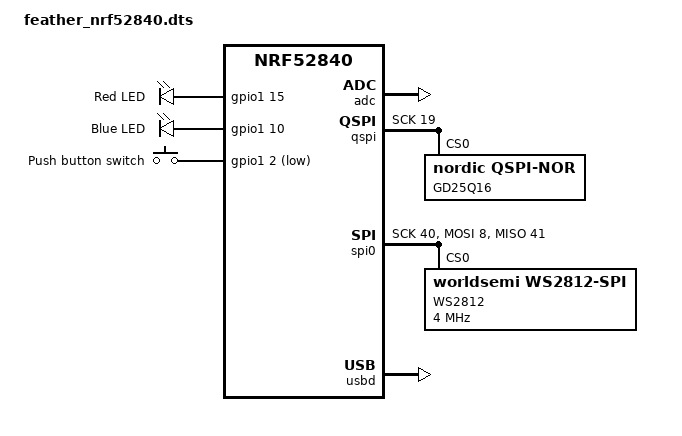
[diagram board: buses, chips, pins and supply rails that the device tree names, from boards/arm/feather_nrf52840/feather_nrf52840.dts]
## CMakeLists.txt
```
set(BOARD feather_nrf52840)
list(APPEND BOARD_ROOT ${CMAKE_CURRENT_SOURCE_DIR})
cmake_minimum_required(VERSION 3.13.1)
find_package(Zephyr)
project(larm)

# Add your source file to the "app" target. This must come after
# find_package(Zephyr) which defines the target.
target_include_directories(app PRIVATE include)
target_sources(app PRIVATE src/main.c src/ble.c)
```

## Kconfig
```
config LARM
    bool
    default y
    select USE_DT_CODE_PARTITION
    select BT
    select BT_SETTINGS
    select BT_PERIPHERAL
    select BT_GATT_CLIENT
    select BT_SMP
    select BT_SMP_SC_PAIRING_ONLY
    select FLASH
    select FLASH_MAP
    select SETTINGS
    select NVS

choice SETTINGS_BACKEND
    default SETTINGS_NVS
endchoice

config RTT_LOG
    bool "Enable RTT logging"
    default n
    select LOG
    select DEBUG
    select CONSOLE
    select USE_SEGGER_RTT
    select RTT_CONSOLE

config NEOPIXEL
    bool "Enable neopixel"
    default y
    select SPI
    select NRFX_SPIM0
    select LED_STRIP
    select WS2812_STRIP

config LARM_LOG_LEVEL
    int "Larm log level"
    default 4

config LARM_LENGTH
    int "Total length in minutes"
    default 60

config LARM_WAKE_TIME
    int "Minutes after which the alarm will set off"
    default 300

config BLE_INIT_PRIORITY
	int "BLE Init Priority"
	default 50

module = LARM
module-str = larm
source "subsys/logging/Kconfig.template.log_config"

rsource "Kconfig.defconfig"
source "Kconfig.zephyr"
```

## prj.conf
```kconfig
CONFIG_RTT_LOG=y
CONFIG_LARM_WAKE_TIME=420
CONFIG_LARM_LENGTH=60
CONFIG_SETTINGS_NVS=y
CONFIG_BT_DEBUG_LOG=y
CONFIG_BT_LOG_LEVEL_DBG=y
CONFIG_LOG_BUFFER_SIZE=20000
CONFIG_SEGGER_RTT_BUFFER_SIZE_UP=20000
CONFIG_BT_RX_STACK_SIZE=8192
CONFIG_BT_HCI_TX_STACK_SIZE_WITH_PROMPT=y
CONFIG_BT_HCI_ECC_STACK_SIZE=8192
CONFIG_BT_HCI_TX_STACK_SIZE=8192
CONFIG_BT_CTLR_RX_PRIO_STACK_SIZE=8192
CONFIG_MPU_STACK_GUARD=y
CONFIG_MAIN_STACK_SIZE=4096
CONFIG_SYSTEM_WORKQUEUE_STACK_SIZE=4096
```

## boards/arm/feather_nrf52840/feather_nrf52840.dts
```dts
/dts-v1/;
#include <nordic/nrf52840_qiaa.dtsi>

#include <dt-bindings/led/led.h>

 / {
	chosen {
		zephyr,bt-mon-uart = &uart0;
		zephyr,bt-c2h-uart = &uart0;
		zephyr,sram = &sram0;
		zephyr,flash = &flash0;
		zephyr,code-partition = &flash_code_raw;
        zephyr,console = &cdc_dev;
	};

	leds {
		compatible = "gpio-leds";
        label = "board_leds";
		led0: led_0 {
			gpios = <&gpio1 15 0>;
			label = "Red LED";
		};
		led1: led_1 {
			gpios = <&gpio1 10 0>;
			label = "Blue LED";
		};
	};

	buttons {
		compatible = "gpio-keys";
		button0: button_0 {
			gpios = <&gpio1 2 (GPIO_PULL_UP | GPIO_ACTIVE_LOW)>;
			label = "Push button switch";
		};
	};

	aliases {
		led0 = &led0;
		led1 = &led1;
		sw0 = &button0;
	};
};

&adc {
	status = "okay";
};

&gpiote {
	status = "okay";
};

&gpio0 {
	status = "okay";
};

&gpio1 {
	status = "okay";
};

&qspi {
	status = "okay";
	sck-pin = <19>;
	io-pins = <17>, <22>, <23>, <21>;
	csn-pins = <20>;
	gd25q16: gd25q16@0 {
		/* NOTE: Quad mode not supported as driver does not handle
		 * QE bit setting in SR2. Ref. GD25Q16C, Rev 3.0, p. 12.
		 */
		compatible = "nordic,qspi-nor";
		reg = <0>;
		writeoc = "pp2o";
		readoc = "read2io";
		sck-frequency = <16000000>;
		label = "GD25Q16";
		jedec-id = [c8 40 15];
		size = <16777216>;
		has-dpd;
		t-enter-dpd = <20000>;
		t-exit-dpd = <20000>;
	};
};

&spi0 {
    compatible = "nordic,nrf-spim";
    status = "okay";
    sck-pin = <40>;
    mosi-pin = <8>;
    miso-pin = <41>;

    neopixel: ws2812@0 {
        compatible = "worldsemi,ws2812-spi";
        label = "WS2812";
        status = "okay";

        /* SPI */
        reg = <0>; /* ignored, but necessary for SPI bindings */
        spi-max-frequency = <4000000>;

        /* WS2812 */
        chain-length = <12>; /* LED strip length */
        spi-one-frame = <0x70>;
        spi-zero-frame = <0x40>;
        color-mapping = <LED_COLOR_ID_GREEN LED_COLOR_ID_RED LED_COLOR_ID_BLUE LED_COLOR_ID_WHITE>;
    };
};

&i2c0 {
    status = "disabled";
};

&spi1 {
    status = "disabled";
};

&led0 {
    status = "okay";
};

&led1 {
    status = "okay";
};

&flash0 {
	/*
	 * For more information, see:
	 * http://docs.zephyrproject.org/latest/devices/dts/flash_partitions.html
	 */
	my-partitions {
		compatible = "fixed-partitions";
		#address-cells = <1>;
		#size-cells = <1>;

		flash_sd: partition_sd@0 {
			label = "softdevice";
			reg = <0x00000000 0x00026000>;
		};
		flash_mbr: partition@0 {
			label = "mbr";
			reg = <0x00000000 0x00001000>;
		};
		flash_code_soft: partition@26000 {
			label = "code_partition_softdevice";
			reg = <0x00026000 0x000c6000>;
		};
		flash_code: partition@1000 {
			label = "code_partition";
			reg = <0x00001000 0x000eb000>;
		};
		flash_code_raw: partition_raw@0 {
			label = "raw_code_partition";
			reg = <0x00000000 0x000ec000>;
		};

		/*
		 * The flash starting at 0x000ec000 and ending at
		 * 0x000f3fff is reserved for use by the application.
		 */

		/*
		 * Storage partition will be used by FCB/LittleFS/NVS
		 * if enabled.
		 */
		flash_storage: partition@ec000 {
			label = "storage";
			reg = <0x000ec000 0x00008000>;
		};

		flash_boot: partition@f4000 {
			label = "adafruit_boot";
			reg = <0x000f4000 0x0000c000>;
		};
	};
};

zephyr_udc0: &usbd {
	compatible = "nordic,nrf-usbd";
	status = "okay";

	cdc_dev: cdc_acm_uart0 {
		compatible = "zephyr,cdc-acm-uart";
		label = "CDC_ACM_0";
	};
};
```

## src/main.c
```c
#include <device.h>
#include <drivers/gpio.h>
#include <drivers/led_strip.h>

#include <logging/log.h>
LOG_MODULE_REGISTER(larm, CONFIG_LARM_LOG_LEVEL);

#define NEOPIXEL_NODE DT_NODELABEL(neopixel)
#define NEOPIXEL_CHAIN_LEN DT_PROP(NEOPIXEL_NODE, chain_length)
#define NEOPIXEL_NUM_COLORS DT_PROP_LEN(NEOPIXEL_NODE, color_mapping)
#define NEOPIXEL_NUM_CHANS (NEOPIXEL_CHAIN_LEN * NEOPIXEL_NUM_COLORS)

static const struct device *neopixel = DEVICE_DT_GET(NEOPIXEL_NODE);

int main() {
    int ret;

    uint8_t chans[NEOPIXEL_NUM_CHANS] = {0};
    for (int i = 0; i < NEOPIXEL_CHAIN_LEN; i ++) {
        for (int j = 0; j < NEOPIXEL_CHAIN_LEN; j ++) {
            chans[j * NEOPIXEL_NUM_COLORS + 1] = i == j;
        }
        if ((ret = led_strip_update_channels(neopixel, chans, NEOPIXEL_NUM_CHANS)) < 0) {
            LOG_ERR("Can't update: %d", ret);
        }
        k_sleep(K_SECONDS(CONFIG_LARM_WAKE_TIME * 60 / NEOPIXEL_CHAIN_LEN));
    }
    for (int i = 0; i < 256; i ++) {
        for (int j = 0; j < NEOPIXEL_CHAIN_LEN; j ++) {
            chans[j * NEOPIXEL_NUM_COLORS + 2] = i;
            chans[j * NEOPIXEL_NUM_COLORS + 3] = i;
        }
        if ((ret = led_strip_update_channels(neopixel, chans, NEOPIXEL_NUM_CHANS)) < 0) {
            LOG_ERR("Can't update: %d", ret);
        }
        k_sleep(K_SECONDS(CONFIG_LARM_LENGTH * 60 / 256));
    }
    return 0;
}
```

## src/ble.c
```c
#include <device.h>
#include <settings/settings.h>
#include <bluetooth/bluetooth.h>
#include <bluetooth/conn.h>
#include <bluetooth/uuid.h>
#include <bluetooth/gatt.h>
#include <sys/byteorder.h>

#include <logging/log.h>
LOG_MODULE_REGISTER(larm_ble, CONFIG_LARM_LOG_LEVEL);

static uint16_t cts_handle = 0;

#define LARM_BLE_PARAM BT_LE_ADV_PARAM(BT_LE_ADV_OPT_CONNECTABLE | BT_LE_ADV_OPT_ONE_TIME, \
        BT_GAP_ADV_SLOW_INT_MIN, BT_GAP_ADV_SLOW_INT_MAX, NULL)
static const struct bt_data larm_ad_data[] = {
    BT_DATA(BT_DATA_NAME_COMPLETE, "Larm", 4),
    BT_DATA_BYTES(BT_DATA_GAP_APPEARANCE, BT_UUID_16_ENCODE(0x0100)),   // Generic clock
    /* BT_DATA_BYTES(BT_DATA_GAP_APPEARANCE, BT_UUID_16_ENCODE(0x07C6)),   // Multi-color LED array */
    BT_DATA_BYTES(BT_DATA_FLAGS, (BT_LE_AD_GENERAL | BT_LE_AD_NO_BREDR)),
    /* BT_DATA_BYTES(BT_DATA_UUID16_ALL, BT_UUID_16_ENCODE(BT_UUID_BAS_VAL)), */
};

static void connected(struct bt_conn *conn, uint8_t err);
static void disconnected(struct bt_conn *conn, uint8_t err);
static struct bt_conn_cb conn_callbacks = {
    .connected = connected,
    .disconnected = disconnected,
};

static uint8_t gatt_disc(struct bt_conn *conn, const struct bt_gatt_attr *attr, struct bt_gatt_discover_params *params) {
    if (attr == NULL) {
        return BT_GATT_ITER_STOP;
    }

	if (!bt_uuid_cmp(params->uuid, BT_UUID_CTS)) {
        cts_handle = bt_gatt_attr_value_handle(attr);
        return BT_GATT_ITER_STOP;
    }

    return BT_GATT_ITER_STOP;
}

static const char *months[12] = {"Jan", "Feb", "Mar", "Apr", "May", "Jun", "Jul", "Aug", "Sep", "Oct", "Nov", "Dec"};
static const char *weekdays[7] = {"Mon", "Tue", "Wed", "Thu", "Fri", "Sat", "Sun"};
static uint8_t gatt_read(struct bt_conn *conn, uint8_t err, struct bt_gatt_read_params *params, const void *data, uint16_t length) {
    if (err) {
        if (err == BT_ATT_ERR_ATTRIBUTE_NOT_FOUND) {
            return BT_GATT_ITER_STOP;
        }
        LOG_ERR("read %u", err);
        return BT_GATT_ITER_STOP;
    }

    LOG_INF("read len %u", length);
    const uint8_t *buf = data;
    uint16_t year;
    memcpy(&year, buf, sizeof(uint16_t));
    LOG_WRN("read time %u %s %u, %s, %u:%u:%u.%03u (%u)", sys_le16_to_cpu(year), months[buf[2] - 1], buf[3], weekdays[buf[7] - 1], buf[4], buf[5], buf[6], buf[8], buf[9]);
    return BT_GATT_ITER_STOP;
}

static struct bt_gatt_discover_params disc_params = {
    .uuid = BT_UUID_CTS,
    .func = gatt_disc,
    .start_handle = BT_ATT_FIRST_ATTRIBUTE_HANDLE,
    .end_handle = BT_ATT_LAST_ATTRIBUTE_HANDLE,
    .type = BT_GATT_DISCOVER_PRIMARY,
};

static struct bt_gatt_read_params read_params = {
    .func = gatt_read,
    /* .handle_count = 1, */
    /* .single = { */
    /*     .handle = 0, */
    /*     .offset = 0, */
    /* }, */
    .handle_count = 0,
    .by_uuid = {
        .uuid = BT_UUID_CTS_CURRENT_TIME,
        .start_handle = BT_ATT_FIRST_ATTRIBUTE_HANDLE,
        .end_handle = BT_ATT_LAST_ATTRIBUTE_HANDLE,
    },
};

static void connected(struct bt_conn *conn, uint8_t err) {
    int ret;
    char addr[BT_ADDR_LE_STR_LEN];
    bt_addr_le_to_str(bt_conn_get_dst(conn), addr, sizeof(addr));

    if (err) {
        LOG_WRN("connect %s %u", log_strdup(addr), err);
        return;
    }

    ret = bt_conn_set_security(conn, BT_SECURITY_L2);
    if (ret < 0) {
        LOG_ERR("sec %d", ret);
        return;
    }

    /* ret = bt_gatt_discover(conn, &disc_params); */
    /* if (ret < 0) { */
    /*     LOG_ERR("disc %d", ret); */
    /* } */

    /* read_params.single.handle = cts_handle; */
    ret = bt_gatt_read(conn, &read_params);
    if (ret < 0) {
        LOG_ERR("read %d", ret);
    }
}

static void disconnected(struct bt_conn *conn, uint8_t err) {
    char addr[BT_ADDR_LE_STR_LEN];
    bt_addr_le_to_str(bt_conn_get_dst(conn), addr, sizeof(addr));

    if (err) {
        LOG_WRN("disconnect %s %u", log_strdup(addr), err);
        return;
    }
    cts_handle = 0;
}

static int ble_init(const struct device *_arg) {
    int ret;

    ret = bt_enable(NULL);
    if (ret < 0) {
        LOG_ERR("bt %d", ret);
        return ret;
    }

    ret = settings_subsys_init();
    if (ret < 0) {
        LOG_ERR("settings init %d", ret);
        return ret;
    }

    ret = settings_load();
    if (ret < 0) {
        LOG_ERR("settings load %d", ret);
        return ret;
    }

    bt_conn_cb_register(&conn_callbacks);

    ret = bt_le_adv_start(LARM_BLE_PARAM, larm_ad_data, ARRAY_SIZE(larm_ad_data), NULL, 0);
    if (ret < 0) {
        LOG_ERR("adv %d", ret);
        return ret;
    }

    LOG_INF("larm init");

    return 0;
}

SYS_INIT(ble_init, APPLICATION, CONFIG_BLE_INIT_PRIORITY);
```
